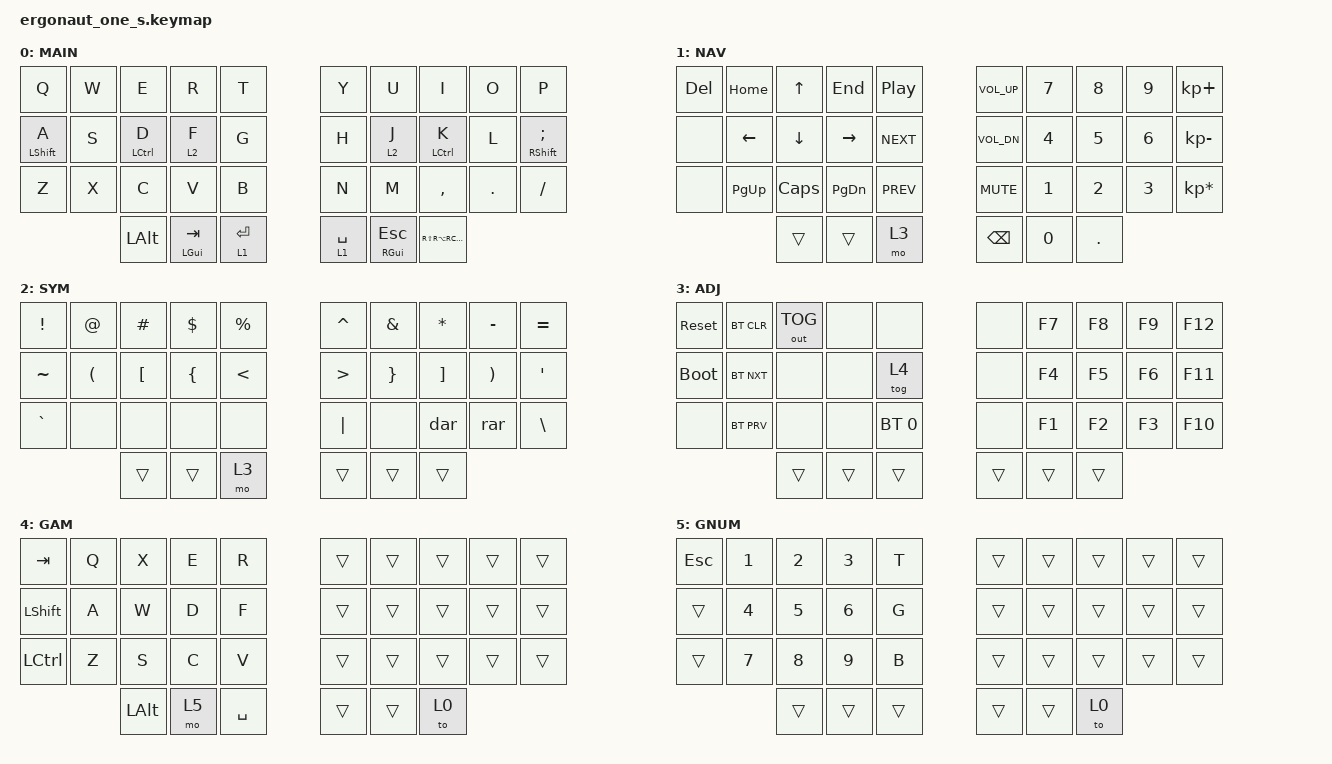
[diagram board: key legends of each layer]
#include <behaviors.dtsi>
#include <dt-bindings/zmk/bt.h>
#include <dt-bindings/zmk/keys.h>
#include <dt-bindings/zmk/outputs.h>

#define BASE 0
#define NAV 1
#define MOUSE 2
#define MEDIA 3
#define NUM 4
#define SYM 5
#define FUN 6
#define ADJ 7

/ {
    behaviors {
        hm: homerow_mods {
            compatible = "zmk,behavior-hold-tap";
            label = "HOMEROW_MODS";
            #binding-cells = <2>;
            tapping-term-ms = <220>;
            quick_tap_ms = <0>;
            flavor = "balanced";
            bindings = <&kp>, <&kp>;
        };
    };

    macros {
        rar: rar {
            compatible = "zmk,behavior-macro";
            #binding-cells = <0>;
            bindings = <&macro_press>, <&kp MINUS &kp GREATER_THAN>;

            label = "RAR";
        };

        dar: dar {
            compatible = "zmk,behavior-macro";
            #binding-cells = <0>;
            bindings = <&macro_press>, <&kp EQUAL &kp GREATER_THAN>;

            label = "DAR";
        };
    };

    keymap {
        compatible = "zmk,keymap";

        default_layer {
            display-name = "MAIN";
            bindings = <
&kp Q         &kp W  &kp E        &kp R         &kp T             &kp Y        &kp U        &kp I         &kp O                 &kp P
&hm LSHIFT A  &kp S  &hm LCTRL D  &lt 2 F       &kp G             &kp H        &lt 2 J      &hm LCTRL K   &kp L                 &hm RSHFT SEMI
&kp Z         &kp X  &kp C        &kp V         &kp B             &kp N        &kp M        &kp COMMA     &kp DOT               &kp FSLH
                                  &kp LEFT_ALT  &hm LEFT_GUI TAB  &lt 1 ENTER  &lt 1 SPACE  &hm RGUI ESC  &kp RS(RA(RC(RGUI)))
            >;
        };

        nav_layer {
            display-name = "NAV";
            bindings = <
&kp DEL  &kp HOME   &kp UP_ARROW  &kp END    &kp C_PLAY_PAUSE  &kp C_VOLUME_UP  &kp N7         &kp N8  &kp N9   &kp KP_PLUS
&none    &kp LEFT   &kp DOWN      &kp RIGHT  &kp C_NEXT        &kp C_VOL_DN     &kp N4         &kp N5  &kp N6   &kp KP_MINUS
&none    &kp PG_UP  &kp CAPS      &kp PG_DN  &kp C_PREV        &kp C_MUTE       &kp N1         &kp N2  &kp N3   &kp KP_MULTIPLY
                                  &trans     &trans            &mo 3            &kp BACKSPACE  &kp N0  &kp DOT
            >;
        };

        symbol_layer {
            display-name = "SYM";
            bindings = <
&kp EXCLAMATION  &kp AT                &kp HASH          &kp DOLLAR      &kp PERCENT    &kp CARET         &kp AMPERSAND    &kp ASTERISK       &kp MINUS              &kp EQUAL
&kp TILDE        &kp LEFT_PARENTHESIS  &kp LEFT_BRACKET  &kp LEFT_BRACE  &kp LESS_THAN  &kp GREATER_THAN  &kp RIGHT_BRACE  &kp RIGHT_BRACKET  &kp RIGHT_PARENTHESIS  &kp SQT
&kp GRAVE        &none                 &none             &none           &none          &kp PIPE          &none            &dar               &rar                   &kp BACKSLASH
                                                         &trans          &trans         &mo 3             &trans           &trans             &trans
            >;
        };

        adjust_layer {
            display-name = "ADJ";
            bindings = <
&sys_reset   &bt BT_CLR  &out OUT_TOG  &none   &none         &none   &kp F7  &kp F8  &kp F9  &kp F12
&bootloader  &bt BT_NXT  &none         &none   &tog 4        &none   &kp F4  &kp F5  &kp F6  &kp F11
&none        &bt BT_PRV  &none         &none   &bt BT_SEL 0  &none   &kp F1  &kp F2  &kp F3  &kp F10
                                       &trans  &trans        &trans  &trans  &trans  &trans
            >;
        };

        gaming_layer {
            display-name = "GAM";
            bindings = <
&kp TAB           &kp Q  &kp X  &kp E         &kp R  &trans     &trans  &trans  &trans  &trans
&kp LSHFT         &kp A  &kp W  &kp D         &kp F  &trans     &trans  &trans  &trans  &trans
&kp LEFT_CONTROL  &kp Z  &kp S  &kp C         &kp V  &trans     &trans  &trans  &trans  &trans
                                &kp LEFT_ALT  &mo 5  &kp SPACE  &trans  &trans  &to 0
            >;
        };

        gaming_num_layer {
            display-name = "GNUM";
            bindings = <
&kp ESC  &kp N1  &kp N2  &kp N3  &kp T   &trans  &trans  &trans  &trans  &trans
&trans   &kp N4  &kp N5  &kp N6  &kp G   &trans  &trans  &trans  &trans  &trans
&trans   &kp N7  &kp N8  &kp N9  &kp B   &trans  &trans  &trans  &trans  &trans
                         &trans  &trans  &trans  &trans  &trans  &to 0
            >;
        };
    };
};
